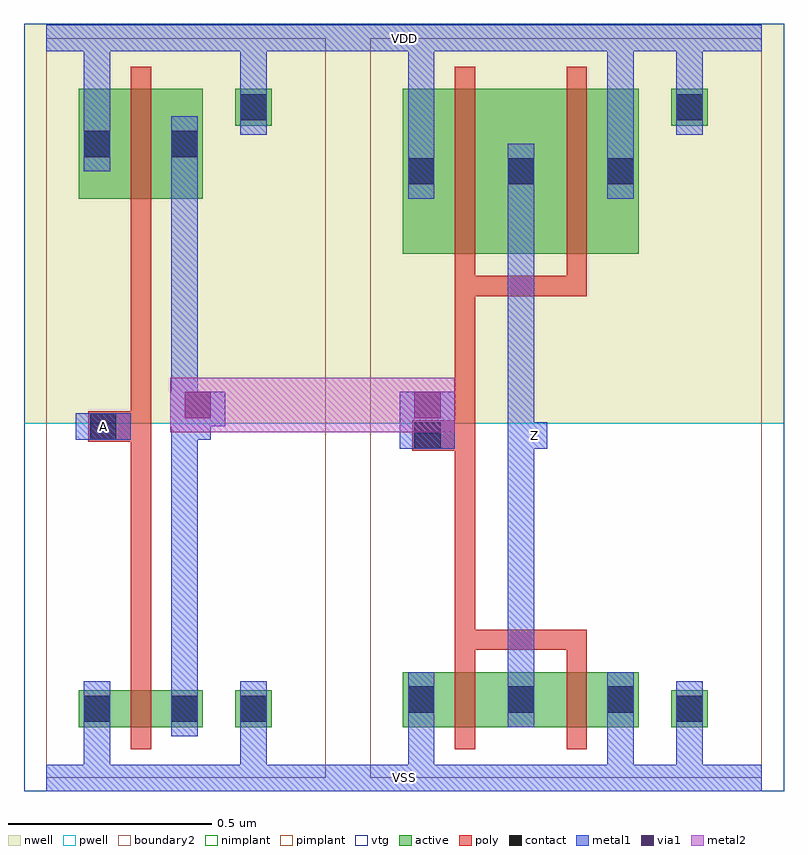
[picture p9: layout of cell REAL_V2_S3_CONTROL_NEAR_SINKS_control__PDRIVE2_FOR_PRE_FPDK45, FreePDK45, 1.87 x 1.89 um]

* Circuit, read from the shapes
.subckt REAL_V2_S3_CONTROL_NEAR_SINKS_control__PDRIVE2_FOR_PRE_FPDK45 A VDD VSS Z
M1 n1 A VSS VSS nfet w=0.09u l=0.05u
M2 Z n1 VSS VSS nfet w=0.135u l=0.05u m=2
M3 n1 A VDD VDD pfet w=0.27u l=0.05u
M4 Z n1 VDD VDD pfet w=0.405u l=0.05u m=2
.ends

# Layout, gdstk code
import gdstk
lib = gdstk.Library(unit=1e-6, precision=5e-10)
def R(c, l, rs):  # rectangles x0, y0, x1, y1
    for r in rs: c.add(gdstk.rectangle(r[:2], r[2:], *l))
active = (1, 0)
pwell = (2, 0)
nwell = (3, 0)
nimplant = (4, 0)
pimplant = (5, 0)
vtg = (6, 0)
poly = (9, 0)
contact = (10, 0)
metal1 = (11, 0)
via1 = (12, 0)
metal2 = (13, 0)
boundary2 = (239, 0)

real_v2_s3_control_near_ = lib.new_cell('REAL_V2_S3_CONTROL_NEAR_SINKS_control__TEAMB_CLONE__inv1__PINV_NW90_PW270_L50__TRANSMISSION_GATE_NW250_PW500_L50_contact_8')
R(real_v2_s3_control_near_, active, [(0,0.0225,0.09,0.1125), (0,0.0225,0.09,0.1125), (0,0.0225,0.09,0.1125)])
R(real_v2_s3_control_near_, nwell, [(-0.055,-0.0325,0.145,0.1675), (-0.055,-0.0325,0.145,0.1675), (-0.055,-0.0325,0.145,0.1675)])
R(real_v2_s3_control_near_, pimplant, [(0,0.0225,0.09,0.1125), (0,0.0225,0.09,0.1125), (0,0.0225,0.09,0.1125)])
R(real_v2_s3_control_near_, contact, [(0.0125,0.035,0.0775,0.1), (0.0125,0.035,0.0775,0.1), (0.0125,0.035,0.0775,0.1)])
R(real_v2_s3_control_near_, metal1, [(0.0125,0,0.0775,0.135), (0.0125,0,0.0775,0.135), (0.0125,0,0.0775,0.135)])
R(real_v2_s3_control_near_, boundary2, [(-0.055,-0.0325,0.145,0.1675), (-0.055,-0.0325,0.145,0.1675), (-0.055,-0.0325,0.145,0.1675)])

c_real_v2_s3_control_near_ = lib.new_cell('REAL_V2_S3_CONTROL_NEAR_SINKS_control__TEAMB_CLONE__inv1__PINV_NW90_PW270_L50__PINV_NW180_PW270_L50_pmos_m1_w0_270_sm1_dm1_da_p')
R(c_real_v2_s3_control_near_, active, [(0,0,0.305,0.27), (0,0,0.305,0.27), (0,0,0.305,0.27)])
R(c_real_v2_s3_control_near_, nwell, [(-0.08,-0.08,0.385,0.35), (-0.08,-0.08,0.385,0.35), (-0.08,-0.08,0.385,0.35)])
R(c_real_v2_s3_control_near_, pimplant, [(0,0,0.305,0.27), (0,0,0.305,0.27), (0,0,0.305,0.27)])
R(c_real_v2_s3_control_near_, vtg, [(-0.08,-0.08,0.385,0.35), (-0.08,-0.08,0.385,0.35), (-0.08,-0.08,0.385,0.35)])
R(c_real_v2_s3_control_near_, poly, [(0.1275,-0.055,0.1775,0.325), (0.1275,-0.055,0.1775,0.325), (0.1275,-0.055,0.1775,0.325), (0.1275,-0.055,0.1775,0.325), (0.1275,-0.055,0.1775,0.325), (0.1275,-0.055,0.1775,0.325)])
R(c_real_v2_s3_control_near_, metal1, [(0.0125,0.0675,0.0775,0.2025), (0.0125,0.0675,0.0775,0.2025), (0.0125,0.0675,0.0775,0.2025), (0.2275,0.0675,0.2925,0.2025), (0.2275,0.0675,0.2925,0.2025), (0.2275,0.0675,0.2925,0.2025)])
R(c_real_v2_s3_control_near_, boundary2, [(-0.08,-0.08,0.385,0.35), (-0.08,-0.08,0.385,0.35), (-0.08,-0.08,0.385,0.35)])
c_real_v2_s3_control_near_.add(gdstk.Reference(real_v2_s3_control_near_, (0,0.0675)))
c_real_v2_s3_control_near_.add(gdstk.Reference(real_v2_s3_control_near_, (0.215,0.0675)))

c_real_v2_s3_control_near__ = lib.new_cell('REAL_V2_S3_CONTROL_NEAR_SINKS_control__TEAMB_CLONE__inv1__PINV_NW90_PW270_L50__TRANSMISSION_GATE_NW250_PW500_L50_contact_7')
R(c_real_v2_s3_control_near__, active, [(0,0.0225,0.09,0.1125), (0,0.0225,0.09,0.1125), (0,0.0225,0.09,0.1125)])
R(c_real_v2_s3_control_near__, pwell, [(-0.055,-0.0325,0.145,0.1675), (-0.055,-0.0325,0.145,0.1675), (-0.055,-0.0325,0.145,0.1675)])
R(c_real_v2_s3_control_near__, nimplant, [(0,0.0225,0.09,0.1125), (0,0.0225,0.09,0.1125), (0,0.0225,0.09,0.1125)])
R(c_real_v2_s3_control_near__, contact, [(0.0125,0.035,0.0775,0.1), (0.0125,0.035,0.0775,0.1), (0.0125,0.035,0.0775,0.1)])
R(c_real_v2_s3_control_near__, metal1, [(0.0125,0,0.0775,0.135), (0.0125,0,0.0775,0.135), (0.0125,0,0.0775,0.135)])
R(c_real_v2_s3_control_near__, boundary2, [(-0.055,-0.0325,0.145,0.1675), (-0.055,-0.0325,0.145,0.1675), (-0.055,-0.0325,0.145,0.1675)])

c_real_v2_s3_control_near___ = lib.new_cell('REAL_V2_S3_CONTROL_NEAR_SINKS_control__TEAMB_CLONE__inv1__PINV_NW90_PW270_L50__PINV_NW90_PW270_L50_nmos_m1_w0_090_sm1_dm1_da_p')
R(c_real_v2_s3_control_near___, active, [(0,0,0.305,0.09), (0,0,0.305,0.09), (0,0,0.305,0.09)])
R(c_real_v2_s3_control_near___, pwell, [(-0.08,-0.08,0.385,0.17), (-0.08,-0.08,0.385,0.17), (-0.08,-0.08,0.385,0.17)])
R(c_real_v2_s3_control_near___, nimplant, [(0,0,0.305,0.09), (0,0,0.305,0.09), (0,0,0.305,0.09)])
R(c_real_v2_s3_control_near___, vtg, [(-0.08,-0.08,0.385,0.17), (-0.08,-0.08,0.385,0.17), (-0.08,-0.08,0.385,0.17)])
R(c_real_v2_s3_control_near___, poly, [(0.1275,-0.055,0.1775,0.145), (0.1275,-0.055,0.1775,0.145), (0.1275,-0.055,0.1775,0.145), (0.1275,-0.055,0.1775,0.145), (0.1275,-0.055,0.1775,0.145), (0.1275,-0.055,0.1775,0.145)])
R(c_real_v2_s3_control_near___, metal1, [(0.0125,-0.0225,0.0775,0.1125), (0.0125,-0.0225,0.0775,0.1125), (0.0125,-0.0225,0.0775,0.1125), (0.2275,-0.0225,0.2925,0.1125), (0.2275,-0.0225,0.2925,0.1125), (0.2275,-0.0225,0.2925,0.1125)])
R(c_real_v2_s3_control_near___, boundary2, [(-0.08,-0.08,0.385,0.17), (-0.08,-0.08,0.385,0.17), (-0.08,-0.08,0.385,0.17)])
c_real_v2_s3_control_near___.add(gdstk.Reference(c_real_v2_s3_control_near__, (0,-0.0225)))
c_real_v2_s3_control_near___.add(gdstk.Reference(c_real_v2_s3_control_near__, (0.215,-0.0225)))

c_real_v2_s3_control_near____ = lib.new_cell('REAL_V2_S3_CONTROL_NEAR_SINKS_control__TEAMB_CLONE__inv1__PINV_NW90_PW270_L50__TRANSMISSION_GATE_NW250_PW500_L50_contact_9')
R(c_real_v2_s3_control_near____, active, [(0,0.0225,0.09,0.1125), (0,0.0225,0.09,0.1125), (0,0.0225,0.09,0.1125)])
R(c_real_v2_s3_control_near____, nwell, [(-0.055,-0.0325,0.145,0.1675), (-0.055,-0.0325,0.145,0.1675), (-0.055,-0.0325,0.145,0.1675)])
R(c_real_v2_s3_control_near____, nimplant, [(0,0.0225,0.09,0.1125), (0,0.0225,0.09,0.1125), (0,0.0225,0.09,0.1125)])
R(c_real_v2_s3_control_near____, contact, [(0.0125,0.035,0.0775,0.1), (0.0125,0.035,0.0775,0.1), (0.0125,0.035,0.0775,0.1)])
R(c_real_v2_s3_control_near____, metal1, [(0.0125,0,0.0775,0.135), (0.0125,0,0.0775,0.135), (0.0125,0,0.0775,0.135)])
R(c_real_v2_s3_control_near____, boundary2, [(-0.055,-0.0325,0.145,0.1675), (-0.055,-0.0325,0.145,0.1675), (-0.055,-0.0325,0.145,0.1675)])

c_real_v2_s3_control_near_____ = lib.new_cell('REAL_V2_S3_CONTROL_NEAR_SINKS_control__TEAMB_CLONE__inv1__PINV_NW90_PW270_L50__TRANSMISSION_GATE_NW250_PW500_L50_contact_10')
R(c_real_v2_s3_control_near_____, active, [(0,0.0225,0.09,0.1125), (0,0.0225,0.09,0.1125), (0,0.0225,0.09,0.1125)])
R(c_real_v2_s3_control_near_____, pwell, [(-0.055,-0.0325,0.145,0.1675), (-0.055,-0.0325,0.145,0.1675), (-0.055,-0.0325,0.145,0.1675)])
R(c_real_v2_s3_control_near_____, pimplant, [(0,0.0225,0.09,0.1125), (0,0.0225,0.09,0.1125), (0,0.0225,0.09,0.1125)])
R(c_real_v2_s3_control_near_____, contact, [(0.0125,0.035,0.0775,0.1), (0.0125,0.035,0.0775,0.1), (0.0125,0.035,0.0775,0.1)])
R(c_real_v2_s3_control_near_____, metal1, [(0.0125,0,0.0775,0.135), (0.0125,0,0.0775,0.135), (0.0125,0,0.0775,0.135)])
R(c_real_v2_s3_control_near_____, boundary2, [(-0.055,-0.0325,0.145,0.1675), (-0.055,-0.0325,0.145,0.1675), (-0.055,-0.0325,0.145,0.1675)])

c_real_v2_s3_control_near______ = lib.new_cell('REAL_V2_S3_CONTROL_NEAR_SINKS_control__TEAMB_CLONE__inv1__PINV_NW90_PW270_L50__PINV_NW180_PW270_L50_contact_11')
R(c_real_v2_s3_control_near______, poly, [(0.03,0,0.105,0.075), (0.03,0,0.105,0.075), (0.03,0,0.105,0.075)])
R(c_real_v2_s3_control_near______, contact, [(0.035,0.005,0.1,0.07), (0.035,0.005,0.1,0.07), (0.035,0.005,0.1,0.07)])
R(c_real_v2_s3_control_near______, metal1, [(0,0.005,0.135,0.07), (0,0.005,0.135,0.07), (0,0.005,0.135,0.07)])
R(c_real_v2_s3_control_near______, boundary2, [(0,0,0.135,0.075), (0,0,0.135,0.075), (0,0,0.135,0.075)])

c_real_v2_s3_control_near_______ = lib.new_cell('REAL_V2_S3_CONTROL_NEAR_SINKS_control__TEAMB_CLONE__inv1__PINV_NW90_PW270_L50__PINV_NW90_PW270_L50_core')
R(c_real_v2_s3_control_near_______, pwell, [(-0.055,-0.0325,0.7425,0.8725), (-0.055,-0.0325,0.7425,0.8725), (-0.055,-0.0325,0.7425,0.8725)])
R(c_real_v2_s3_control_near_______, nwell, [(-0.055,0.8725,0.7425,1.855), (-0.055,0.8725,0.7425,1.855), (-0.055,0.8725,0.7425,1.855)])
R(c_real_v2_s3_control_near_______, vtg, [(-0.055,-0.0325,0.7425,0.8725), (-0.055,-0.0325,0.7425,0.8725), (-0.055,-0.0325,0.7425,0.8725), (-0.055,0.8725,0.7425,1.855), (-0.055,0.8725,0.7425,1.855), (-0.055,0.8725,0.7425,1.855)])
R(c_real_v2_s3_control_near_______, poly, [(0.2075,0.27,0.2575,1.37), (0.2075,0.27,0.2575,1.37), (0.2075,0.27,0.2575,1.37), (0.14,0.8275,0.2075,0.9025), (0.14,0.8275,0.2075,0.9025), (0.14,0.8275,0.2075,0.9025)])
R(c_real_v2_s3_control_near_______, metal1, [(0,-0.0325,0.6875,0.0325), (0,-0.0325,0.6875,0.0325), (0,-0.0325,0.6875,0.0325), (0.0925,-0.0325,0.1575,0.1025), (0.0925,-0.0325,0.1575,0.1025), (0.0925,-0.0325,0.1575,0.1025), (0.4775,0,0.5425,0.17), (0.4775,0,0.5425,0.17), (0.4775,0,0.5425,0.17), (0.3075,0.1025,0.3725,1.6275), (0.3075,0.1025,0.3725,1.6275), (0.3075,0.1025,0.3725,1.6275), (0.0725,0.8325,0.2075,0.8975), (0.0725,0.8325,0.2075,0.8975), (0.0725,0.8325,0.2075,0.8975), (0.34,0.8325,0.405,0.8975), (0.34,0.8325,0.405,0.8975), (0.34,0.8325,0.405,0.8975), (0.0925,1.4925,0.1575,1.8525), (0.0925,1.4925,0.1575,1.8525), (0.0925,1.4925,0.1575,1.8525), (0.4775,1.65,0.5425,1.82), (0.4775,1.65,0.5425,1.82), (0.4775,1.65,0.5425,1.82), (0,1.7875,0.6875,1.8525), (0,1.7875,0.6875,1.8525), (0,1.7875,0.6875,1.8525)])
R(c_real_v2_s3_control_near_______, boundary2, [(0,0,0.6875,1.82), (0,0,0.6875,1.82), (0,0,0.6875,1.82), (0,0,0.6875,1.82), (0,0,0.6875,1.82), (0,0,0.6875,1.82)])
c_real_v2_s3_control_near_______.add(gdstk.Reference(c_real_v2_s3_control_near_, (0.08,1.425)))
c_real_v2_s3_control_near_______.add(gdstk.Reference(c_real_v2_s3_control_near___, (0.08,0.125)))
c_real_v2_s3_control_near_______.add(gdstk.Reference(c_real_v2_s3_control_near____, (0.465,1.5825)))
c_real_v2_s3_control_near_______.add(gdstk.Reference(c_real_v2_s3_control_near_____, (0.465,0.1025)))
c_real_v2_s3_control_near_______.add(gdstk.Reference(c_real_v2_s3_control_near______, (0.0725,0.8275)))

c_real_v2_s3_control_near________ = lib.new_cell('REAL_V2_S3_CONTROL_NEAR_SINKS_control__TEAMB_CLONE__inv1__PINV_NW90_PW270_L50__PINV_NW90_PW270_L50')
R(c_real_v2_s3_control_near________, metal1, [(0,-0.0325,0.6875,0.0325), (0,-0.0325,0.6875,0.0325), (0,-0.0325,0.6875,0.0325), (0.0725,0.8325,0.2075,0.8975), (0.0725,0.8325,0.2075,0.8975), (0.0725,0.8325,0.2075,0.8975), (0.34,0.8325,0.405,0.8975), (0.34,0.8325,0.405,0.8975), (0.34,0.8325,0.405,0.8975), (0,1.7875,0.6875,1.8525), (0,1.7875,0.6875,1.8525), (0,1.7875,0.6875,1.8525)])
R(c_real_v2_s3_control_near________, boundary2, [(0,0,0.6875,1.82), (0,0,0.6875,1.82), (0,0,0.6875,1.82)])
c_real_v2_s3_control_near________.add(gdstk.Reference(c_real_v2_s3_control_near_______, (0,0)))

c_real_v2_s3_control_near_________ = lib.new_cell('REAL_V2_S3_CONTROL_NEAR_SINKS_control__TEAMB_CLONE__inv2__PINV_NW270_PW810_L50__TRANSMISSION_GATE_NW250_PW500_L50_contact_8')
R(c_real_v2_s3_control_near_________, active, [(0,0.0225,0.09,0.1125), (0,0.0225,0.09,0.1125)])
R(c_real_v2_s3_control_near_________, nwell, [(-0.055,-0.0325,0.145,0.1675), (-0.055,-0.0325,0.145,0.1675)])
R(c_real_v2_s3_control_near_________, pimplant, [(0,0.0225,0.09,0.1125), (0,0.0225,0.09,0.1125)])
R(c_real_v2_s3_control_near_________, contact, [(0.0125,0.035,0.0775,0.1), (0.0125,0.035,0.0775,0.1)])
R(c_real_v2_s3_control_near_________, metal1, [(0.0125,0,0.0775,0.135), (0.0125,0,0.0775,0.135)])
R(c_real_v2_s3_control_near_________, boundary2, [(-0.055,-0.0325,0.145,0.1675), (-0.055,-0.0325,0.145,0.1675)])

c_real_v2_s3_control_near__________ = lib.new_cell('REAL_V2_S3_CONTROL_NEAR_SINKS_control__TEAMB_CLONE__inv2__PINV_NW270_PW810_L50__PINV_NW270_PW810_L50_pmos_m2_w0_405_sm1_dm1_da_p')
R(c_real_v2_s3_control_near__________, active, [(0,0,0.58,0.405), (0,0,0.58,0.405)])
R(c_real_v2_s3_control_near__________, nwell, [(-0.08,-0.08,0.66,0.485), (-0.08,-0.08,0.66,0.485)])
R(c_real_v2_s3_control_near__________, pimplant, [(0,0,0.58,0.405), (0,0,0.58,0.405)])
R(c_real_v2_s3_control_near__________, vtg, [(-0.08,-0.08,0.66,0.485), (-0.08,-0.08,0.66,0.485)])
R(c_real_v2_s3_control_near__________, poly, [(0.1275,-0.105,0.4525,-0.055), (0.1275,-0.105,0.4525,-0.055), (0.1275,-0.055,0.1775,0.46), (0.1275,-0.055,0.1775,0.46), (0.4025,-0.055,0.4525,0.46), (0.4025,-0.055,0.4525,0.46)])
R(c_real_v2_s3_control_near__________, metal1, [(0.0125,0.135,0.0775,0.27), (0.0125,0.135,0.0775,0.27), (0.2575,0.135,0.3225,0.27), (0.2575,0.135,0.3225,0.27), (0.5025,0.135,0.5675,0.27), (0.5025,0.135,0.5675,0.27)])
R(c_real_v2_s3_control_near__________, boundary2, [(-0.08,-0.105,0.66,0.485), (-0.08,-0.105,0.66,0.485)])
c_real_v2_s3_control_near__________.add(gdstk.Reference(c_real_v2_s3_control_near_________, (0,0.135)))
c_real_v2_s3_control_near__________.add(gdstk.Reference(c_real_v2_s3_control_near_________, (0.245,0.135)))
c_real_v2_s3_control_near__________.add(gdstk.Reference(c_real_v2_s3_control_near_________, (0.49,0.135)))

c_real_v2_s3_control_near___________ = lib.new_cell('REAL_V2_S3_CONTROL_NEAR_SINKS_control__TEAMB_CLONE__inv2__PINV_NW270_PW810_L50__TRANSMISSION_GATE_NW250_PW500_L50_contact_7')
R(c_real_v2_s3_control_near___________, active, [(0,0.0225,0.09,0.1125), (0,0.0225,0.09,0.1125)])
R(c_real_v2_s3_control_near___________, pwell, [(-0.055,-0.0325,0.145,0.1675), (-0.055,-0.0325,0.145,0.1675)])
R(c_real_v2_s3_control_near___________, nimplant, [(0,0.0225,0.09,0.1125), (0,0.0225,0.09,0.1125)])
R(c_real_v2_s3_control_near___________, contact, [(0.0125,0.035,0.0775,0.1), (0.0125,0.035,0.0775,0.1)])
R(c_real_v2_s3_control_near___________, metal1, [(0.0125,0,0.0775,0.135), (0.0125,0,0.0775,0.135)])
R(c_real_v2_s3_control_near___________, boundary2, [(-0.055,-0.0325,0.145,0.1675), (-0.055,-0.0325,0.145,0.1675)])

c_real_v2_s3_control_near____________ = lib.new_cell('REAL_V2_S3_CONTROL_NEAR_SINKS_control__TEAMB_CLONE__inv2__PINV_NW270_PW810_L50__PINV_NW270_PW810_L50_nmos_m2_w0_135_sm1_dm1_da_p')
R(c_real_v2_s3_control_near____________, active, [(0,0,0.58,0.135), (0,0,0.58,0.135)])
R(c_real_v2_s3_control_near____________, pwell, [(-0.08,-0.08,0.66,0.215), (-0.08,-0.08,0.66,0.215)])
R(c_real_v2_s3_control_near____________, nimplant, [(0,0,0.58,0.135), (0,0,0.58,0.135)])
R(c_real_v2_s3_control_near____________, vtg, [(-0.08,-0.08,0.66,0.215), (-0.08,-0.08,0.66,0.215)])
R(c_real_v2_s3_control_near____________, poly, [(0.1275,-0.055,0.1775,0.19), (0.1275,-0.055,0.1775,0.19), (0.4025,-0.055,0.4525,0.19), (0.4025,-0.055,0.4525,0.19), (0.1275,0.19,0.4525,0.24), (0.1275,0.19,0.4525,0.24)])
R(c_real_v2_s3_control_near____________, metal1, [(0.0125,0,0.0775,0.135), (0.0125,0,0.0775,0.135), (0.2575,0,0.3225,0.135), (0.2575,0,0.3225,0.135), (0.5025,0,0.5675,0.135), (0.5025,0,0.5675,0.135)])
R(c_real_v2_s3_control_near____________, boundary2, [(-0.08,-0.08,0.66,0.24), (-0.08,-0.08,0.66,0.24)])
c_real_v2_s3_control_near____________.add(gdstk.Reference(c_real_v2_s3_control_near___________, (0,0)))
c_real_v2_s3_control_near____________.add(gdstk.Reference(c_real_v2_s3_control_near___________, (0.245,0)))
c_real_v2_s3_control_near____________.add(gdstk.Reference(c_real_v2_s3_control_near___________, (0.49,0)))

c_real_v2_s3_control_near_____________ = lib.new_cell('REAL_V2_S3_CONTROL_NEAR_SINKS_control__TEAMB_CLONE__inv2__PINV_NW270_PW810_L50__TRANSMISSION_GATE_NW250_PW500_L50_contact_9')
R(c_real_v2_s3_control_near_____________, active, [(0,0.0225,0.09,0.1125), (0,0.0225,0.09,0.1125)])
R(c_real_v2_s3_control_near_____________, nwell, [(-0.055,-0.0325,0.145,0.1675), (-0.055,-0.0325,0.145,0.1675)])
R(c_real_v2_s3_control_near_____________, nimplant, [(0,0.0225,0.09,0.1125), (0,0.0225,0.09,0.1125)])
R(c_real_v2_s3_control_near_____________, contact, [(0.0125,0.035,0.0775,0.1), (0.0125,0.035,0.0775,0.1)])
R(c_real_v2_s3_control_near_____________, metal1, [(0.0125,0,0.0775,0.135), (0.0125,0,0.0775,0.135)])
R(c_real_v2_s3_control_near_____________, boundary2, [(-0.055,-0.0325,0.145,0.1675), (-0.055,-0.0325,0.145,0.1675)])

c_real_v2_s3_control_near______________ = lib.new_cell('REAL_V2_S3_CONTROL_NEAR_SINKS_control__TEAMB_CLONE__inv2__PINV_NW270_PW810_L50__TRANSMISSION_GATE_NW250_PW500_L50_contact_10')
R(c_real_v2_s3_control_near______________, active, [(0,0.0225,0.09,0.1125), (0,0.0225,0.09,0.1125)])
R(c_real_v2_s3_control_near______________, pwell, [(-0.055,-0.0325,0.145,0.1675), (-0.055,-0.0325,0.145,0.1675)])
R(c_real_v2_s3_control_near______________, pimplant, [(0,0.0225,0.09,0.1125), (0,0.0225,0.09,0.1125)])
R(c_real_v2_s3_control_near______________, contact, [(0.0125,0.035,0.0775,0.1), (0.0125,0.035,0.0775,0.1)])
R(c_real_v2_s3_control_near______________, metal1, [(0.0125,0,0.0775,0.135), (0.0125,0,0.0775,0.135)])
R(c_real_v2_s3_control_near______________, boundary2, [(-0.055,-0.0325,0.145,0.1675), (-0.055,-0.0325,0.145,0.1675)])

c_real_v2_s3_control_near_______________ = lib.new_cell('REAL_V2_S3_CONTROL_NEAR_SINKS_control__TEAMB_CLONE__inv2__PINV_NW270_PW810_L50__PINV_NW180_PW270_L50_contact_11')
R(c_real_v2_s3_control_near_______________, poly, [(0.03,0,0.105,0.075), (0.03,0,0.105,0.075)])
R(c_real_v2_s3_control_near_______________, contact, [(0.035,0.005,0.1,0.07), (0.035,0.005,0.1,0.07)])
R(c_real_v2_s3_control_near_______________, metal1, [(0,0.005,0.135,0.07), (0,0.005,0.135,0.07)])
R(c_real_v2_s3_control_near_______________, boundary2, [(0,0,0.135,0.075), (0,0,0.135,0.075)])

c_real_v2_s3_control_near________________ = lib.new_cell('REAL_V2_S3_CONTROL_NEAR_SINKS_control__TEAMB_CLONE__inv2__PINV_NW270_PW810_L50__PINV_NW270_PW810_L50_core')
R(c_real_v2_s3_control_near________________, pwell, [(-0.055,-0.0325,1.0175,0.8725), (-0.055,-0.0325,1.0175,0.8725)])
R(c_real_v2_s3_control_near________________, nwell, [(-0.055,0.8725,1.0175,1.855), (-0.055,0.8725,1.0175,1.855)])
R(c_real_v2_s3_control_near________________, vtg, [(-0.055,-0.0325,1.0175,0.8725), (-0.055,-0.0325,1.0175,0.8725), (-0.055,0.8725,1.0175,1.855), (-0.055,0.8725,1.0175,1.855)])
R(c_real_v2_s3_control_near________________, poly, [(0.2075,0.365,0.2575,1.185), (0.2075,0.365,0.2575,1.185), (0.14,0.805,0.2075,0.88), (0.14,0.805,0.2075,0.88)])
R(c_real_v2_s3_control_near________________, metal1, [(0,-0.0325,0.9625,0.0325), (0,-0.0325,0.9625,0.0325), (0.0925,-0.0325,0.1575,0.125), (0.0925,-0.0325,0.1575,0.125), (0.5825,-0.0325,0.6475,0.125), (0.5825,-0.0325,0.6475,0.125), (0.7525,0,0.8175,0.17), (0.7525,0,0.8175,0.17), (0.3375,0.125,0.4025,1.56), (0.3375,0.125,0.4025,1.56), (0.0725,0.81,0.2075,0.875), (0.0725,0.81,0.2075,0.875), (0.37,0.81,0.435,0.875), (0.37,0.81,0.435,0.875), (0.0925,1.425,0.1575,1.8525), (0.0925,1.425,0.1575,1.8525), (0.5825,1.425,0.6475,1.8525), (0.5825,1.425,0.6475,1.8525), (0.7525,1.65,0.8175,1.82), (0.7525,1.65,0.8175,1.82), (0,1.7875,0.9625,1.8525), (0,1.7875,0.9625,1.8525)])
R(c_real_v2_s3_control_near________________, boundary2, [(0,0,0.9625,1.82), (0,0,0.9625,1.82), (0,0,0.9625,1.82), (0,0,0.9625,1.82)])
c_real_v2_s3_control_near________________.add(gdstk.Reference(c_real_v2_s3_control_near__________, (0.08,1.29)))
c_real_v2_s3_control_near________________.add(gdstk.Reference(c_real_v2_s3_control_near____________, (0.08,0.125)))
c_real_v2_s3_control_near________________.add(gdstk.Reference(c_real_v2_s3_control_near_____________, (0.74,1.5825)))
c_real_v2_s3_control_near________________.add(gdstk.Reference(c_real_v2_s3_control_near______________, (0.74,0.1025)))
c_real_v2_s3_control_near________________.add(gdstk.Reference(c_real_v2_s3_control_near_______________, (0.0725,0.805)))

c_real_v2_s3_control_near_________________ = lib.new_cell('REAL_V2_S3_CONTROL_NEAR_SINKS_control__TEAMB_CLONE__inv2__PINV_NW270_PW810_L50__PINV_NW270_PW810_L50')
R(c_real_v2_s3_control_near_________________, metal1, [(0,-0.0325,0.9625,0.0325), (0,-0.0325,0.9625,0.0325), (0.0725,0.81,0.2075,0.875), (0.0725,0.81,0.2075,0.875), (0.37,0.81,0.435,0.875), (0.37,0.81,0.435,0.875), (0,1.7875,0.9625,1.8525), (0,1.7875,0.9625,1.8525)])
R(c_real_v2_s3_control_near_________________, boundary2, [(0,0,0.9625,1.82), (0,0,0.9625,1.82)])
c_real_v2_s3_control_near_________________.add(gdstk.Reference(c_real_v2_s3_control_near________________, (0,0)))

c_real_v2_s3_control_near__________________ = lib.new_cell('REAL_V2_S3_CONTROL_NEAR_SINKS_control__PDRIVE2_FOR_PRE_FPDK45')
R(c_real_v2_s3_control_near__________________, metal1, [(0.055,0,1.815,0.065), (0.925,0.875,1.06,0.9825), (0.36,0.8975,0.495,0.9825), (0.055,1.82,1.815,1.885)])
R(c_real_v2_s3_control_near__________________, via1, [(0.395,0.9175,0.46,0.9825), (0.96,0.9175,1.025,0.9825)])
R(c_real_v2_s3_control_near__________________, metal2, [(0.36,0.8825,0.495,1.0175), (0.4275,0.8825,0.9925,1.0175), (0.925,0.8825,1.06,1.0175)])
c_real_v2_s3_control_near__________________.add(gdstk.Reference(c_real_v2_s3_control_near________, (0.055,0.0325)))
c_real_v2_s3_control_near__________________.add(gdstk.Reference(c_real_v2_s3_control_near_________________, (0.8525,0.0325)))
c_real_v2_s3_control_near__________________.add(gdstk.Label('VDD', (0.935,1.8525), layer=11, texttype=2))
c_real_v2_s3_control_near__________________.add(gdstk.Label('VSS', (0.935,0.0325), layer=11, texttype=2))
c_real_v2_s3_control_near__________________.add(gdstk.Label('A', (0.195,0.8975), layer=11, texttype=2))
c_real_v2_s3_control_near__________________.add(gdstk.Label('Z', (1.255,0.875), layer=11, texttype=2))

lib.write_gds('REAL_V2_S3_CONTROL_NEAR_SINKS_control__PDRIVE2_FOR_PRE_FPDK45.gds')
